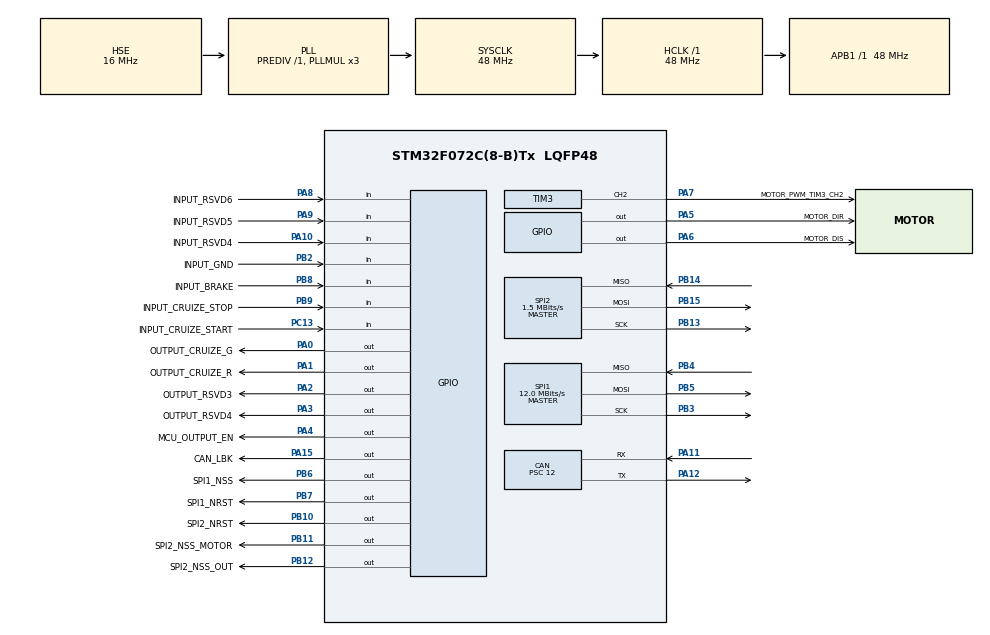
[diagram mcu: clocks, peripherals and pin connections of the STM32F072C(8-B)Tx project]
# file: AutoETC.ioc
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CAN.BS1=CAN_BS1_4TQ
CAN.BS2=CAN_BS2_3TQ
CAN.CalculateBaudRate=500000
CAN.CalculateTimeBit=2000
CAN.CalculateTimeQuantum=250.0
CAN.NART=ENABLE
CAN.Prescaler=12
Dma.Request0=SPI1_RX
Dma.Request1=SPI1_TX
Dma.Request2=SPI2_RX
Dma.Request3=SPI2_TX
Dma.SPI1_RX.0.Direction=DMA_PERIPH_TO_MEMORY
Dma.SPI1_RX.0.Instance=DMA1_Channel2
Dma.SPI1_RX.0.MemDataAlignment=DMA_MDATAALIGN_BYTE
Dma.SPI1_RX.0.MemInc=DMA_MINC_ENABLE
Dma.SPI1_RX.0.Mode=DMA_NORMAL
Dma.SPI1_RX.0.PeriphDataAlignment=DMA_PDATAALIGN_BYTE
Dma.SPI1_RX.0.PeriphInc=DMA_PINC_DISABLE
Dma.SPI1_RX.0.Priority=DMA_PRIORITY_LOW
Dma.SPI1_TX.1.Direction=DMA_MEMORY_TO_PERIPH
Dma.SPI1_TX.1.Instance=DMA1_Channel3
Dma.SPI1_TX.1.MemDataAlignment=DMA_MDATAALIGN_BYTE
Dma.SPI1_TX.1.MemInc=DMA_MINC_ENABLE
Dma.SPI1_TX.1.Mode=DMA_NORMAL
Dma.SPI1_TX.1.PeriphDataAlignment=DMA_PDATAALIGN_BYTE
Dma.SPI1_TX.1.PeriphInc=DMA_PINC_DISABLE
Dma.SPI1_TX.1.Priority=DMA_PRIORITY_LOW
Dma.SPI2_RX.2.Direction=DMA_PERIPH_TO_MEMORY
Dma.SPI2_RX.2.Instance=DMA1_Channel4
Dma.SPI2_RX.2.MemDataAlignment=DMA_MDATAALIGN_BYTE
Dma.SPI2_RX.2.MemInc=DMA_MINC_ENABLE
Dma.SPI2_RX.2.Mode=DMA_NORMAL
Dma.SPI2_RX.2.PeriphDataAlignment=DMA_PDATAALIGN_BYTE
Dma.SPI2_RX.2.PeriphInc=DMA_PINC_DISABLE
Dma.SPI2_RX.2.Priority=DMA_PRIORITY_LOW
Dma.SPI2_TX.3.Direction=DMA_MEMORY_TO_PERIPH
Dma.SPI2_TX.3.Instance=DMA1_Channel5
Dma.SPI2_TX.3.MemDataAlignment=DMA_MDATAALIGN_BYTE
Dma.SPI2_TX.3.MemInc=DMA_MINC_ENABLE
Dma.SPI2_TX.3.Mode=DMA_NORMAL
Dma.SPI2_TX.3.PeriphDataAlignment=DMA_PDATAALIGN_BYTE
Dma.SPI2_TX.3.PeriphInc=DMA_PINC_DISABLE
Dma.SPI2_TX.3.Priority=DMA_PRIORITY_LOW
IWDG.Reload=128
IWDG.Window=128
Mcu.Family=STM32F0
Mcu.Name=STM32F072C(8-B)Tx
Mcu.Package=LQFP48
NVIC.CEC_CAN_IRQn=true\:0\:0\:false\:false\:true\:true\:true\:true
NVIC.DMA1_Channel2_3_IRQn=true\:0\:0\:false\:false\:true\:false\:true\:true
NVIC.DMA1_Channel4_5_6_7_IRQn=true\:0\:0\:false\:false\:true\:false\:true\:true
NVIC.SPI1_IRQn=true\:0\:0\:false\:false\:true\:true\:true\:true
NVIC.SPI2_IRQn=true\:0\:0\:false\:false\:true\:true\:true\:true
NVIC.TIM3_IRQn=true\:0\:0\:false\:false\:true\:true\:true\:true
NVIC.TIM6_DAC_IRQn=true\:0\:0\:false\:false\:true\:true\:true\:true
NVIC.TIM7_IRQn=true\:0\:0\:false\:false\:true\:true\:true\:true
PA0.GPIO_Label=OUTPUT_CRUIZE_G
PA0.GPIO_ModeDefaultOutputPP=GPIO_MODE_OUTPUT_PP
PA0.GPIO_Speed=GPIO_SPEED_FREQ_HIGH
PA0.PinState=GPIO_PIN_SET
PA0.Signal=GPIO_Output
PA1.GPIO_Label=OUTPUT_CRUIZE_R
PA1.GPIO_ModeDefaultOutputPP=GPIO_MODE_OUTPUT_PP
PA1.GPIO_Speed=GPIO_SPEED_FREQ_HIGH
PA1.PinState=GPIO_PIN_SET
PA1.Signal=GPIO_Output
PA10.GPIO_Label=INPUT_RSVD4
PA10.GPIO_Mode=GPIO_MODE_INPUT
PA10.GPIO_PuPd=GPIO_PULLUP
PA10.Signal=GPIO_Input
PA11.GPIO_PuPd=GPIO_PULLUP
PA11.GPIO_Speed=GPIO_SPEED_FREQ_HIGH
PA11.Mode=CAN_Activate
PA11.Signal=CAN_RX
PA12.GPIO_PuPd=GPIO_PULLUP
PA12.GPIO_Speed=GPIO_SPEED_FREQ_HIGH
PA12.Mode=CAN_Activate
PA12.Signal=CAN_TX
PA13.Mode=Serial_Wire
PA13.Signal=SYS_SWDIO
PA14.Mode=Serial_Wire
PA14.Signal=SYS_SWCLK
PA15.GPIO_Label=CAN_LBK
PA15.GPIO_PuPd=GPIO_PULLUP
PA15.GPIO_Speed=GPIO_SPEED_FREQ_HIGH
PA15.PinState=GPIO_PIN_SET
PA15.Signal=GPIO_Output
PA2.GPIO_Label=OUTPUT_RSVD3
PA2.GPIO_ModeDefaultOutputPP=GPIO_MODE_OUTPUT_PP
PA2.GPIO_Speed=GPIO_SPEED_FREQ_HIGH
PA2.PinState=GPIO_PIN_SET
PA2.Signal=GPIO_Output
PA3.GPIO_Label=OUTPUT_RSVD4
PA3.GPIO_ModeDefaultOutputPP=GPIO_MODE_OUTPUT_PP
PA3.GPIO_Speed=GPIO_SPEED_FREQ_HIGH
PA3.PinState=GPIO_PIN_SET
PA3.Signal=GPIO_Output
PA4.GPIO_Label=MCU_OUTPUT_EN
PA4.GPIO_Speed=GPIO_SPEED_FREQ_LOW
PA4.Signal=GPIO_Output
PA5.GPIO_Label=MOTOR_DIR
PA5.GPIO_ModeDefaultOutputPP=GPIO_MODE_OUTPUT_PP
PA5.GPIO_Speed=GPIO_SPEED_FREQ_HIGH
PA5.Signal=GPIO_Output
PA6.GPIO_Label=MOTOR_DIS
PA6.GPIO_ModeDefaultOutputPP=GPIO_MODE_OUTPUT_PP
PA6.GPIO_Speed=GPIO_SPEED_FREQ_HIGH
PA6.PinState=GPIO_PIN_SET
PA6.Signal=GPIO_Output
PA7.GPIO_Label=MOTOR_PWM_TIM3_CH2
PA7.GPIO_Speed=GPIO_SPEED_FREQ_HIGH
PA7.Signal=S_TIM3_CH2
PA8.GPIO_Label=INPUT_RSVD6
PA8.GPIO_Mode=GPIO_MODE_INPUT
PA8.GPIO_PuPd=GPIO_PULLUP
PA8.Signal=GPIO_Input
PA9.GPIO_Label=INPUT_RSVD5
PA9.GPIO_Mode=GPIO_MODE_INPUT
PA9.GPIO_PuPd=GPIO_PULLUP
PA9.Signal=GPIO_Input
PB10.GPIO_Label=SPI2_NRST
PB10.GPIO_Speed=GPIO_SPEED_FREQ_HIGH
PB10.Signal=GPIO_Output
PB11.GPIO_Label=SPI2_NSS_MOTOR
PB11.GPIO_Speed=GPIO_SPEED_FREQ_HIGH
PB11.PinState=GPIO_PIN_SET
PB11.Signal=GPIO_Output
PB12.GPIO_Label=SPI2_NSS_OUT
PB12.GPIO_Speed=GPIO_SPEED_FREQ_HIGH
PB12.PinState=GPIO_PIN_SET
PB12.Signal=GPIO_Output
PB13.GPIO_PuPd=GPIO_PULLUP
PB13.Mode=Full_Duplex_Master
PB13.Signal=SPI2_SCK
PB14.GPIO_PuPd=GPIO_PULLUP
PB14.Mode=Full_Duplex_Master
PB14.Signal=SPI2_MISO
PB15.GPIO_PuPd=GPIO_PULLUP
PB15.Mode=Full_Duplex_Master
PB15.Signal=SPI2_MOSI
PB2.GPIO_Label=INPUT_GND
PB2.Signal=GPIO_Input
PB3.GPIO_PuPd=GPIO_PULLUP
PB3.Mode=Full_Duplex_Master
PB3.Signal=SPI1_SCK
PB4.GPIO_PuPd=GPIO_PULLUP
PB4.Mode=Full_Duplex_Master
PB4.Signal=SPI1_MISO
PB5.GPIO_PuPd=GPIO_PULLUP
PB5.Mode=Full_Duplex_Master
PB5.Signal=SPI1_MOSI
PB6.GPIO_Label=SPI1_NSS
PB6.GPIO_Speed=GPIO_SPEED_FREQ_HIGH
PB6.PinState=GPIO_PIN_SET
PB6.Signal=GPIO_Output
PB7.GPIO_Label=SPI1_NRST
PB7.GPIO_Speed=GPIO_SPEED_FREQ_HIGH
PB7.PinState=GPIO_PIN_RESET
PB7.Signal=GPIO_Output
PB8.GPIO_Label=INPUT_BRAKE
PB8.GPIO_Mode=GPIO_MODE_INPUT
PB8.GPIO_PuPd=GPIO_PULLUP
PB8.Signal=GPIO_Input
PB9.GPIO_Label=INPUT_CRUIZE_STOP
PB9.GPIO_Mode=GPIO_MODE_INPUT
PB9.GPIO_PuPd=GPIO_PULLUP
PB9.Signal=GPIO_Input
PC13.GPIO_Label=INPUT_CRUIZE_START
PC13.GPIO_Mode=GPIO_MODE_INPUT
PC13.GPIO_PuPd=GPIO_PULLUP
PC13.Signal=GPIO_Input
PF0-OSC_IN.Mode=HSE-External-Oscillator
PF0-OSC_IN.Signal=RCC_OSC_IN
PF1-OSC_OUT.Mode=HSE-External-Oscillator
PF1-OSC_OUT.Signal=RCC_OSC_OUT
ProjectManager.HeapSize=0x200
ProjectManager.StackSize=0x400
ProjectManager.TargetToolchain=STM32CubeIDE
RCC.AHBFreq_Value=48000000
RCC.APB1Freq_Value=48000000
RCC.APB1TimFreq_Value=48000000
RCC.HCLKFreq_Value=48000000
RCC.HSE_VALUE=16000000
RCC.PLLMUL=RCC_PLL_MUL3
RCC.PLLSourceVirtual=RCC_PLLSOURCE_HSE
RCC.SYSCLKFreq_VALUE=48000000
RCC.SYSCLKSource=RCC_SYSCLKSOURCE_PLLCLK
SH.S_TIM3_CH2.0=TIM3_CH2,PWM Generation2 CH2
SPI1.BaudRatePrescaler=SPI_BAUDRATEPRESCALER_4
SPI1.CLKPolarity=SPI_POLARITY_HIGH
SPI1.CalculateBaudRate=12.0 MBits/s
SPI1.DataSize=SPI_DATASIZE_8BIT
SPI1.Direction=SPI_DIRECTION_2LINES
SPI1.Mode=SPI_MODE_MASTER
SPI1.VirtualType=VM_MASTER
SPI2.BaudRatePrescaler=SPI_BAUDRATEPRESCALER_32
SPI2.CLKPhase=SPI_PHASE_2EDGE
SPI2.CalculateBaudRate=1.5 MBits/s
SPI2.DataSize=SPI_DATASIZE_8BIT
SPI2.Direction=SPI_DIRECTION_2LINES
SPI2.Mode=SPI_MODE_MASTER
SPI2.VirtualType=VM_MASTER
TIM2.Period=0xFFFFFFFF
TIM2.Prescaler=48-1
TIM3.Channel-PWM\ Generation2\ CH2=TIM_CHANNEL_2
TIM3.Period=1024-1
TIM3.Prescaler=48-1
TIM6.Period=50-1
TIM6.Prescaler=48-1
TIM7.Period=1000-1
TIM7.Prescaler=48-1
VP_IWDG_VS_IWDG.Mode=IWDG_Activate
VP_TIM2_VS_ClockSourceINT.Mode=Internal
VP_TIM3_VS_ClockSourceINT.Mode=Internal
VP_TIM6_VS_ClockSourceINT.Mode=Enable_Timer
VP_TIM7_VS_ClockSourceINT.Mode=Enable_Timer
board=custom

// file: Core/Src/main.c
/* USER CODE BEGIN Header */
/**
  ******************************************************************************
  * @file           : main.c
  * @brief          : Main program body
  ******************************************************************************
  * @attention
  *
  * Copyright (c) 2023 STMicroelectronics.
  * All rights reserved.
  *
  * This software is licensed under terms that can be found in the LICENSE file
  * in the root directory of this software component.
  * If no LICENSE file comes with this software, it is provided AS-IS.
  *
  ******************************************************************************
  */
/* USER CODE END Header */
#include "main.h"

/* USER CODE BEGIN Includes */
#include "delay.h"
#include "misc.h"
#include "adc.h"
#include "can.h"
#include "sensors.h"
#include "outputs.h"
#include "etc.h"
/* USER CODE END Includes */

CAN_HandleTypeDef hcan;

IWDG_HandleTypeDef hiwdg;

SPI_HandleTypeDef hspi1;
SPI_HandleTypeDef hspi2;
DMA_HandleTypeDef hdma_spi1_rx;
DMA_HandleTypeDef hdma_spi1_tx;
DMA_HandleTypeDef hdma_spi2_rx;
DMA_HandleTypeDef hdma_spi2_tx;

TIM_HandleTypeDef htim2;
TIM_HandleTypeDef htim3;
TIM_HandleTypeDef htim6;
TIM_HandleTypeDef htim7;

/* USER CODE BEGIN PV */
#ifdef DEBUG
volatile static uint32_t fast_irq_start = 0;
volatile static uint32_t fast_irq_end = 0;
volatile static uint16_t fast_irq_times = 0;
volatile static uint32_t fast_irq_time = 0;
volatile static float fast_irq_avg = 0;
volatile static float fast_irq_max = 0;

volatile static uint32_t slow_irq_start = 0;
volatile static uint32_t slow_irq_end = 0;
volatile static uint16_t slow_irq_times = 0;
volatile static uint32_t slow_irq_time = 0;
volatile static float slow_irq_avg = 0;
volatile static float slow_irq_max = 0;
#endif
/* USER CODE END PV */

void SystemClock_Config(void);
static void MX_GPIO_Init(void);
static void MX_DMA_Init(void);
static void MX_CAN_Init(void);
static void MX_IWDG_Init(void);
static void MX_SPI1_Init(void);
static void MX_SPI2_Init(void);
static void MX_TIM3_Init(void);
static void MX_TIM2_Init(void);
static void MX_TIM6_Init(void);
static void MX_TIM7_Init(void);

/* USER CODE BEGIN 0 */

STATIC_INLINE void fast_loop(void)
{
#ifdef DEBUG
  fast_irq_start = Delay_Tick;
#endif

  adc_fast_loop();
  Misc_Fast_Loop();
  etc_irq_fast_loop();

#ifdef DEBUG
  //For time measurement taken by the fast irq handler. No need to optimize anything here
  fast_irq_end = Delay_Tick;
  fast_irq_time = DelayDiff(fast_irq_end, fast_irq_start);

  if(fast_irq_avg == 0)
    fast_irq_avg = fast_irq_time;
  else if(fast_irq_times < 1000) {
    fast_irq_avg = fast_irq_avg * 0.99f + fast_irq_time * 0.01f;
    if(fast_irq_time > fast_irq_max)
      fast_irq_max = fast_irq_time;
    else fast_irq_max = fast_irq_max * 0.99f + fast_irq_time * 0.01f;
    fast_irq_times++;
  } else {
    fast_irq_avg = fast_irq_avg * 0.99999f + fast_irq_time * 0.00001f;
    if(fast_irq_time > fast_irq_max)
      fast_irq_max = fast_irq_time;
    else fast_irq_max = fast_irq_max * 0.99999f + fast_irq_time * 0.00001f;
  }
#endif
}

STATIC_INLINE void slow_loop(void)
{
#ifdef DEBUG
  slow_irq_start = Delay_Tick;
#endif

  adc_slow_loop();
  Misc_Loop();
  sensors_loop();
  outputs_loop();
  etc_irq_slow_loop();

#ifdef DEBUG
  //For time measurement taken by the slow irq handler. No need to optimize anything here
  slow_irq_end = Delay_Tick;
  slow_irq_time = DelayDiff(slow_irq_end, slow_irq_start);

  if(slow_irq_avg == 0)
    slow_irq_avg = slow_irq_time;
  else if(slow_irq_times < 1000) {
    slow_irq_avg = slow_irq_avg * 0.99f + slow_irq_time * 0.01f;
    if(slow_irq_time > slow_irq_max)
      slow_irq_max = slow_irq_time;
    else slow_irq_max = slow_irq_max * 0.99f + slow_irq_time * 0.01f;
    slow_irq_times++;
  } else {
    slow_irq_avg = slow_irq_avg * 0.99999f + slow_irq_time * 0.00001f;
    if(slow_irq_time > slow_irq_max)
      slow_irq_max = slow_irq_time;
    else slow_irq_max = slow_irq_max * 0.99999f + slow_irq_time * 0.00001f;
  }
#endif
}

INLINE void HAL_TIM_PeriodElapsedCallback(TIM_HandleTypeDef *htim)
{
  if (htim == &htim6) {
    fast_loop();
  } else if (htim == &htim7) {
    slow_loop();
  }
}

INLINE ITCM_FUNC void HAL_TIM_PWM_PulseFinishedCallback(TIM_HandleTypeDef *htim)
{
  if(htim == &htim3 && htim->Channel == HAL_TIM_ACTIVE_CHANNEL_2) {
    //htim2.Instance->CCR1 = o2_pwm_period;
  }
}

INLINE void HAL_SPI_TxCpltCallback(SPI_HandleTypeDef * hspi)
{
  if(hspi == &hspi2) {
    Misc_TxCpltCallback(hspi);
  } else if(hspi == &hspi1) {
    ADC_TxCpltCallback(hspi);
  }
}

INLINE void HAL_SPI_RxCpltCallback(SPI_HandleTypeDef * hspi)
{
  if(hspi == &hspi2) {
    Misc_RxCpltCallback(hspi);
  } else if(hspi == &hspi1) {
    ADC_RxCpltCallback(hspi);
  }
}
INLINE void HAL_SPI_TxRxCpltCallback(SPI_HandleTypeDef * hspi)
{
  if(hspi == &hspi2) {
    Misc_TxRxCpltCallback(hspi);
  } else if(hspi == &hspi1) {
    ADC_TxRxCpltCallback(hspi);
  }
}

INLINE void HAL_SPI_ErrorCallback(SPI_HandleTypeDef * hspi)
{
  if(hspi == &hspi2) {
    Misc_ErrorCallback(hspi);
  } else if(hspi == &hspi1) {
    ADC_ErrorCallback(hspi);
  }
}

INLINE void HAL_CAN_TxMailbox0AbortCallback(CAN_HandleTypeDef *hcan)
{
  can_txfifo_aborted_callback(hcan, CAN_TX_MAILBOX0);
}

INLINE void HAL_CAN_TxMailbox1AbortCallback(CAN_HandleTypeDef *hcan)
{
  can_txfifo_aborted_callback(hcan, CAN_TX_MAILBOX1);
}

INLINE void HAL_CAN_TxMailbox2AbortCallback(CAN_HandleTypeDef *hcan)
{
  can_txfifo_aborted_callback(hcan, CAN_TX_MAILBOX2);
}

INLINE void HAL_CAN_TxMailbox0CompleteCallback(CAN_HandleTypeDef *hcan)
{
  can_txfifo_completed_callback(hcan, CAN_TX_MAILBOX0);
}

INLINE void HAL_CAN_TxMailbox1CompleteCallback(CAN_HandleTypeDef *hcan)
{
  can_txfifo_completed_callback(hcan, CAN_TX_MAILBOX1);
}

INLINE void HAL_CAN_TxMailbox2CompleteCallback(CAN_HandleTypeDef *hcan)
{
  can_txfifo_completed_callback(hcan, CAN_TX_MAILBOX2);
}

INLINE void HAL_CAN_RxFifo0MsgPendingCallback(CAN_HandleTypeDef *hcan)
{
  can_rxfifo_pending_callback(hcan, CAN_RX_FIFO0);
}

INLINE void HAL_CAN_RxFifo1MsgPendingCallback(CAN_HandleTypeDef *hcan)
{
  can_rxfifo_pending_callback(hcan, CAN_RX_FIFO1);
}

/* USER CODE END 0 */

int main(void)
{

  /* MCU Configuration--------------------------------------------------------*/

  /* Reset of all peripherals, Initializes the Flash interface and the Systick. */
  HAL_Init();

  /* Configure the system clock */
  SystemClock_Config();

  /* Initialize all configured peripherals */
  MX_GPIO_Init();
  MX_DMA_Init();
  MX_CAN_Init();
  MX_IWDG_Init();
  MX_SPI1_Init();
  MX_SPI2_Init();
  MX_TIM3_Init();
  MX_TIM2_Init();
  MX_TIM6_Init();
  MX_TIM7_Init();
  /* USER CODE BEGIN 2 */

  //Freeze peripherial during debug
  DBGMCU->APB1FZ = 0x7E01BFF;
  DBGMCU->APB2FZ = 0x70003;

  __HAL_DBGMCU_FREEZE_TIM2();
  __HAL_DBGMCU_FREEZE_IWDG();

  __HAL_DBGMCU_UNFREEZE_TIM3();

  HAL_PWR_EnableBkUpAccess();

  HAL_GPIO_WritePin(MCU_OUTPUT_EN_GPIO_Port, MCU_OUTPUT_EN_Pin, GPIO_PIN_SET);
  HAL_GPIO_WritePin(MCU_OUTPUT_EN_GPIO_Port, MCU_OUTPUT_EN_Pin, GPIO_PIN_SET);

  DelayInit(&htim2);

  sensors_init();
  outputs_init();

  sensors_register_digital(SensorDigitalCruizeStart, INPUT_CRUIZE_START_GPIO_Port, INPUT_CRUIZE_START_Pin, 0);
  sensors_register_digital(SensorDigitalCruizeStop, INPUT_CRUIZE_STOP_GPIO_Port, INPUT_CRUIZE_STOP_Pin, 0);
  sensors_register_digital(SensorDigitalBrake, INPUT_BRAKE_GPIO_Port, INPUT_BRAKE_Pin, 0);
  sensors_register_digital(SensorDigitalRsvd4, INPUT_RSVD4_GPIO_Port, INPUT_RSVD4_Pin, 0);
  sensors_register_digital(SensorDigitalRsvd5, INPUT_RSVD5_GPIO_Port, INPUT_RSVD5_Pin, 0);
  sensors_register_digital(SensorDigitalRsvd6, INPUT_RSVD6_GPIO_Port, INPUT_RSVD6_Pin, 0);

  outputs_register(OutCruizeG, OUTPUT_CRUIZE_G_GPIO_Port, OUTPUT_CRUIZE_G_Pin, 1, GPIO_PIN_RESET);
  outputs_register(OutCruizeR, OUTPUT_CRUIZE_R_GPIO_Port, OUTPUT_CRUIZE_R_Pin, 1, GPIO_PIN_RESET);
  outputs_register(OutRsvd3, OUTPUT_RSVD3_GPIO_Port, OUTPUT_RSVD3_Pin, 1, GPIO_PIN_RESET);
  outputs_register(OutRsvd4, OUTPUT_RSVD4_GPIO_Port, OUTPUT_RSVD4_Pin, 1, GPIO_PIN_RESET);

  adc_register(AdcChTps1,           ADC_RANGE_0P1250, 1000, ADC_FILTER_ENABLE);
  adc_register(AdcChTps2,           ADC_RANGE_0P1250, 1000, ADC_FILTER_ENABLE);
  adc_register(AdcChPedal1,         ADC_RANGE_0P1250, 1000, ADC_FILTER_ENABLE);
  adc_register(AdcChPedal2,         ADC_RANGE_0P1250, 1000, ADC_FILTER_ENABLE);
  adc_register(AdcChRsvd5,          ADC_RANGE_0P1250, 1000, ADC_FILTER_ENABLE);
  adc_register(AdcChRsvd6,          ADC_RANGE_0P1250, 1000, ADC_FILTER_ENABLE);
  adc_register(AdcChPowerVoltage,   ADC_RANGE_0P2500, 2000, ADC_FILTER_ENABLE);
  adc_register(AdcChRefVoltage,     ADC_RANGE_0P1250, 2000, ADC_FILTER_ENABLE);

  adc_init(&hspi1);

  Misc_Init(&hspi2);

  can_init(&hcan);

  etc_init();

  HAL_IWDG_Refresh(&hiwdg);

  HAL_TIM_Base_Start_IT(&htim6);
  HAL_TIM_Base_Start_IT(&htim7);
  HAL_TIM_PWM_Start_IT(&htim3, TIM_CHANNEL_2);

  /* USER CODE END 2 */

  /* Infinite loop */
  /* USER CODE BEGIN WHILE */
  while (1)
  {
    etc_loop();
    HAL_IWDG_Refresh(&hiwdg);
    /* USER CODE END WHILE */

  }
}

void SystemClock_Config(void)
{
  RCC_OscInitTypeDef RCC_OscInitStruct = {0};
  RCC_ClkInitTypeDef RCC_ClkInitStruct = {0};

  /** Initializes the RCC Oscillators according to the specified parameters
  * in the RCC_OscInitTypeDef structure.
  */
  RCC_OscInitStruct.OscillatorType = RCC_OSCILLATORTYPE_LSI|RCC_OSCILLATORTYPE_HSE;
  RCC_OscInitStruct.HSEState = RCC_HSE_ON;
  RCC_OscInitStruct.LSIState = RCC_LSI_ON;
  RCC_OscInitStruct.PLL.PLLState = RCC_PLL_ON;
  RCC_OscInitStruct.PLL.PLLSource = RCC_PLLSOURCE_HSE;
  RCC_OscInitStruct.PLL.PLLMUL = RCC_PLL_MUL3;
  RCC_OscInitStruct.PLL.PREDIV = RCC_PREDIV_DIV1;
  if (HAL_RCC_OscConfig(&RCC_OscInitStruct) != HAL_OK)
  {
    Error_Handler();
  }

  /** Initializes the CPU, AHB and APB buses clocks
  */
  RCC_ClkInitStruct.ClockType = RCC_CLOCKTYPE_HCLK|RCC_CLOCKTYPE_SYSCLK
                              |RCC_CLOCKTYPE_PCLK1;
  RCC_ClkInitStruct.SYSCLKSource = RCC_SYSCLKSOURCE_PLLCLK;
  RCC_ClkInitStruct.AHBCLKDivider = RCC_SYSCLK_DIV1;
  RCC_ClkInitStruct.APB1CLKDivider = RCC_HCLK_DIV1;

  if (HAL_RCC_ClockConfig(&RCC_ClkInitStruct, FLASH_LATENCY_1) != HAL_OK)
  {
    Error_Handler();
  }
}

static void MX_CAN_Init(void)
{

  hcan.Instance = CAN;
  hcan.Init.Prescaler = 12;
  hcan.Init.Mode = CAN_MODE_NORMAL;
  hcan.Init.SyncJumpWidth = CAN_SJW_1TQ;
  hcan.Init.TimeSeg1 = CAN_BS1_4TQ;
  hcan.Init.TimeSeg2 = CAN_BS2_3TQ;
  hcan.Init.TimeTriggeredMode = DISABLE;
  hcan.Init.AutoBusOff = DISABLE;
  hcan.Init.AutoWakeUp = DISABLE;
  hcan.Init.AutoRetransmission = ENABLE;
  hcan.Init.ReceiveFifoLocked = DISABLE;
  hcan.Init.TransmitFifoPriority = DISABLE;
  if (HAL_CAN_Init(&hcan) != HAL_OK)
  {
    Error_Handler();
  }

}

static void MX_IWDG_Init(void)
{

  hiwdg.Instance = IWDG;
  hiwdg.Init.Prescaler = IWDG_PRESCALER_4;
  hiwdg.Init.Window = 512;
  hiwdg.Init.Reload = 512;
  if (HAL_IWDG_Init(&hiwdg) != HAL_OK)
  {
    Error_Handler();
  }

}

static void MX_SPI1_Init(void)
{

  /* SPI1 parameter configuration*/
  hspi1.Instance = SPI1;
  hspi1.Init.Mode = SPI_MODE_MASTER;
  hspi1.Init.Direction = SPI_DIRECTION_2LINES;
  hspi1.Init.DataSize = SPI_DATASIZE_8BIT;
  hspi1.Init.CLKPolarity = SPI_POLARITY_HIGH;
  hspi1.Init.CLKPhase = SPI_PHASE_1EDGE;
  hspi1.Init.NSS = SPI_NSS_SOFT;
  hspi1.Init.BaudRatePrescaler = SPI_BAUDRATEPRESCALER_4;
  hspi1.Init.FirstBit = SPI_FIRSTBIT_MSB;
  hspi1.Init.TIMode = SPI_TIMODE_DISABLE;
  hspi1.Init.CRCCalculation = SPI_CRCCALCULATION_DISABLE;
  hspi1.Init.CRCPolynomial = 7;
  hspi1.Init.CRCLength = SPI_CRC_LENGTH_DATASIZE;
  hspi1.Init.NSSPMode = SPI_NSS_PULSE_ENABLE;
  if (HAL_SPI_Init(&hspi1) != HAL_OK)
  {
    Error_Handler();
  }

}

static void MX_SPI2_Init(void)
{

  /* SPI2 parameter configuration*/
  hspi2.Instance = SPI2;
  hspi2.Init.Mode = SPI_MODE_MASTER;
  hspi2.Init.Direction = SPI_DIRECTION_2LINES;
  hspi2.Init.DataSize = SPI_DATASIZE_8BIT;
  hspi2.Init.CLKPolarity = SPI_POLARITY_LOW;
  hspi2.Init.CLKPhase = SPI_PHASE_2EDGE;
  hspi2.Init.NSS = SPI_NSS_SOFT;
  hspi2.Init.BaudRatePrescaler = SPI_BAUDRATEPRESCALER_32;
  hspi2.Init.FirstBit = SPI_FIRSTBIT_MSB;
  hspi2.Init.TIMode = SPI_TIMODE_DISABLE;
  hspi2.Init.CRCCalculation = SPI_CRCCALCULATION_DISABLE;
  hspi2.Init.CRCPolynomial = 7;
  hspi2.Init.CRCLength = SPI_CRC_LENGTH_DATASIZE;
  hspi2.Init.NSSPMode = SPI_NSS_PULSE_DISABLE;
  if (HAL_SPI_Init(&hspi2) != HAL_OK)
  {
    Error_Handler();
  }

}

static void MX_TIM2_Init(void)
{

  TIM_ClockConfigTypeDef sClockSourceConfig = {0};
  TIM_MasterConfigTypeDef sMasterConfig = {0};

  htim2.Instance = TIM2;
  htim2.Init.Prescaler = 48-1;
  htim2.Init.CounterMode = TIM_COUNTERMODE_UP;
  htim2.Init.Period = 0xFFFFFFFF;
  htim2.Init.ClockDivision = TIM_CLOCKDIVISION_DIV1;
  htim2.Init.AutoReloadPreload = TIM_AUTORELOAD_PRELOAD_DISABLE;
  if (HAL_TIM_Base_Init(&htim2) != HAL_OK)
  {
    Error_Handler();
  }
  sClockSourceConfig.ClockSource = TIM_CLOCKSOURCE_INTERNAL;
  if (HAL_TIM_ConfigClockSource(&htim2, &sClockSourceConfig) != HAL_OK)
  {
    Error_Handler();
  }
  sMasterConfig.MasterOutputTrigger = TIM_TRGO_RESET;
  sMasterConfig.MasterSlaveMode = TIM_MASTERSLAVEMODE_DISABLE;
  if (HAL_TIMEx_MasterConfigSynchronization(&htim2, &sMasterConfig) != HAL_OK)
  {
    Error_Handler();
  }
  /* USER CODE BEGIN TIM2_Init 2 */

  htim2.Init.Prescaler = (HAL_RCC_GetPCLK1Freq() / 1000000) -1;
  htim2.Init.Period = DelayMask;
  if (HAL_TIM_Base_Init(&htim2) != HAL_OK)
  {
    Error_Handler();
  }
  /* USER CODE END TIM2_Init 2 */

}

static void MX_TIM3_Init(void)
{

  TIM_ClockConfigTypeDef sClockSourceConfig = {0};
  TIM_MasterConfigTypeDef sMasterConfig = {0};
  TIM_OC_InitTypeDef sConfigOC = {0};

  htim3.Instance = TIM3;
  htim3.Init.Prescaler = 48-1;
  htim3.Init.CounterMode = TIM_COUNTERMODE_UP;
  htim3.Init.Period = 256-1;
  htim3.Init.ClockDivision = TIM_CLOCKDIVISION_DIV1;
  htim3.Init.AutoReloadPreload = TIM_AUTORELOAD_PRELOAD_DISABLE;
  if (HAL_TIM_Base_Init(&htim3) != HAL_OK)
  {
    Error_Handler();
  }
  sClockSourceConfig.ClockSource = TIM_CLOCKSOURCE_INTERNAL;
  if (HAL_TIM_ConfigClockSource(&htim3, &sClockSourceConfig) != HAL_OK)
  {
    Error_Handler();
  }
  if (HAL_TIM_PWM_Init(&htim3) != HAL_OK)
  {
    Error_Handler();
  }
  sMasterConfig.MasterOutputTrigger = TIM_TRGO_RESET;
  sMasterConfig.MasterSlaveMode = TIM_MASTERSLAVEMODE_DISABLE;
  if (HAL_TIMEx_MasterConfigSynchronization(&htim3, &sMasterConfig) != HAL_OK)
  {
    Error_Handler();
  }
  sConfigOC.OCMode = TIM_OCMODE_PWM1;
  sConfigOC.Pulse = 0;
  sConfigOC.OCPolarity = TIM_OCPOLARITY_HIGH;
  sConfigOC.OCFastMode = TIM_OCFAST_DISABLE;
  if (HAL_TIM_PWM_ConfigChannel(&htim3, &sConfigOC, TIM_CHANNEL_2) != HAL_OK)
  {
    Error_Handler();
  }
  /* USER CODE BEGIN TIM3_Init 2 */
  htim3.Init.Prescaler = (HAL_RCC_GetPCLK1Freq() / 1000000) - 1;
  if (HAL_TIM_Base_Init(&htim3) != HAL_OK)
  {
    Error_Handler();
  }
  /* USER CODE END TIM3_Init 2 */
  HAL_TIM_MspPostInit(&htim3);

}

static void MX_TIM6_Init(void)
{

  TIM_MasterConfigTypeDef sMasterConfig = {0};

  htim6.Instance = TIM6;
  htim6.Init.Prescaler = 48-1;
  htim6.Init.CounterMode = TIM_COUNTERMODE_UP;
  htim6.Init.Period = 100-1;
  htim6.Init.AutoReloadPreload = TIM_AUTORELOAD_PRELOAD_DISABLE;
  if (HAL_TIM_Base_Init(&htim6) != HAL_OK)
  {
    Error_Handler();
  }
  sMasterConfig.MasterOutputTrigger = TIM_TRGO_RESET;
  sMasterConfig.MasterSlaveMode = TIM_MASTERSLAVEMODE_DISABLE;
  if (HAL_TIMEx_MasterConfigSynchronization(&htim6, &sMasterConfig) != HAL_OK)
  {
    Error_Handler();
  }
  /* USER CODE BEGIN TIM6_Init 2 */
  htim6.Init.Prescaler = (HAL_RCC_GetPCLK1Freq() / 1000000) -1;
  if (HAL_TIM_Base_Init(&htim6) != HAL_OK)
  {
    Error_Handler();
  }
  /* USER CODE END TIM6_Init 2 */

}

static void MX_TIM7_Init(void)
{

  TIM_MasterConfigTypeDef sMasterConfig = {0};

  htim7.Instance = TIM7;
  htim7.Init.Prescaler = 48-1;
  htim7.Init.CounterMode = TIM_COUNTERMODE_UP;
  htim7.Init.Period = 1000-1;
  htim7.Init.AutoReloadPreload = TIM_AUTORELOAD_PRELOAD_DISABLE;
  if (HAL_TIM_Base_Init(&htim7) != HAL_OK)
  {
    Error_Handler();
  }
  sMasterConfig.MasterOutputTrigger = TIM_TRGO_RESET;
  sMasterConfig.MasterSlaveMode = TIM_MASTERSLAVEMODE_DISABLE;
  if (HAL_TIMEx_MasterConfigSynchronization(&htim7, &sMasterConfig) != HAL_OK)
  {
    Error_Handler();
  }
  /* USER CODE BEGIN TIM7_Init 2 */
  htim7.Init.Prescaler = (HAL_RCC_GetPCLK1Freq() / 1000000) -1;
  if (HAL_TIM_Base_Init(&htim7) != HAL_OK)
  {
    Error_Handler();
  }
  /* USER CODE END TIM7_Init 2 */

}

static void MX_DMA_Init(void)
{

  /* DMA controller clock enable */
  __HAL_RCC_DMA1_CLK_ENABLE();

  /* DMA interrupt init */
  /* DMA1_Channel2_3_IRQn interrupt configuration */
  HAL_NVIC_SetPriority(DMA1_Channel2_3_IRQn, 0, 0);
  HAL_NVIC_EnableIRQ(DMA1_Channel2_3_IRQn);
  /* DMA1_Channel4_5_6_7_IRQn interrupt configuration */
  HAL_NVIC_SetPriority(DMA1_Channel4_5_6_7_IRQn, 0, 0);
  HAL_NVIC_EnableIRQ(DMA1_Channel4_5_6_7_IRQn);

}

static void MX_GPIO_Init(void)
{
  GPIO_InitTypeDef GPIO_InitStruct = {0};

  /* GPIO Ports Clock Enable */
  __HAL_RCC_GPIOC_CLK_ENABLE();
  __HAL_RCC_GPIOF_CLK_ENABLE();
  __HAL_RCC_GPIOA_CLK_ENABLE();
  __HAL_RCC_GPIOB_CLK_ENABLE();

  /*Configure GPIO pin Output Level */
  HAL_GPIO_WritePin(GPIOA, OUTPUT_CRUIZE_G_Pin|OUTPUT_CRUIZE_R_Pin|OUTPUT_RSVD3_Pin|OUTPUT_RSVD4_Pin
                          |MOTOR_DIS_Pin|CAN_LBK_Pin, GPIO_PIN_SET);

  /*Configure GPIO pin Output Level */
  HAL_GPIO_WritePin(GPIOA, MCU_OUTPUT_EN_Pin|MOTOR_DIR_Pin, GPIO_PIN_RESET);

  /*Configure GPIO pin Output Level */
  HAL_GPIO_WritePin(GPIOB, SPI2_NRST_Pin|SPI1_NRST_Pin, GPIO_PIN_RESET);

  /*Configure GPIO pin Output Level */
  HAL_GPIO_WritePin(GPIOB, SPI2_NSS_MOTOR_Pin|SPI2_NSS_OUT_Pin|SPI1_NSS_Pin, GPIO_PIN_SET);

  /*Configure GPIO pin : INPUT_CRUIZE_START_Pin */
  GPIO_InitStruct.Pin = INPUT_CRUIZE_START_Pin;
  GPIO_InitStruct.Mode = GPIO_MODE_INPUT;
  GPIO_InitStruct.Pull = GPIO_NOPULL;
  HAL_GPIO_Init(INPUT_CRUIZE_START_GPIO_Port, &GPIO_InitStruct);

  /*Configure GPIO pins : OUTPUT_CRUIZE_G_Pin OUTPUT_CRUIZE_R_Pin OUTPUT_RSVD3_Pin OUTPUT_RSVD4_Pin
                           MOTOR_DIR_Pin MOTOR_DIS_Pin */
  GPIO_InitStruct.Pin = OUTPUT_CRUIZE_G_Pin|OUTPUT_CRUIZE_R_Pin|OUTPUT_RSVD3_Pin|OUTPUT_RSVD4_Pin
                          |MOTOR_DIR_Pin|MOTOR_DIS_Pin;
  GPIO_InitStruct.Mode = GPIO_MODE_OUTPUT_PP;
  GPIO_InitStruct.Pull = GPIO_NOPULL;
  GPIO_InitStruct.Speed = GPIO_SPEED_FREQ_HIGH;
  HAL_GPIO_Init(GPIOA, &GPIO_InitStruct);

  /*Configure GPIO pin : MCU_OUTPUT_EN_Pin */
  GPIO_InitStruct.Pin = MCU_OUTPUT_EN_Pin;
  GPIO_InitStruct.Mode = GPIO_MODE_OUTPUT_PP;
  GPIO_InitStruct.Pull = GPIO_NOPULL;
  GPIO_InitStruct.Speed = GPIO_SPEED_FREQ_LOW;
  HAL_GPIO_Init(MCU_OUTPUT_EN_GPIO_Port, &GPIO_InitStruct);

  /*Configure GPIO pin : INPUT_GND_Pin */
  GPIO_InitStruct.Pin = INPUT_GND_Pin;
  GPIO_InitStruct.Mode = GPIO_MODE_INPUT;
  GPIO_InitStruct.Pull = GPIO_NOPULL;
  HAL_GPIO_Init(INPUT_GND_GPIO_Port, &GPIO_InitStruct);

  /*Configure GPIO pins : SPI2_NRST_Pin SPI2_NSS_MOTOR_Pin SPI2_NSS_OUT_Pin SPI1_NSS_Pin
                           SPI1_NRST_Pin */
  GPIO_InitStruct.Pin = SPI2_NRST_Pin|SPI2_NSS_MOTOR_Pin|SPI2_NSS_OUT_Pin|SPI1_NSS_Pin
                          |SPI1_NRST_Pin;
  GPIO_InitStruct.Mode = GPIO_MODE_OUTPUT_PP;
  GPIO_InitStruct.Pull = GPIO_NOPULL;
  GPIO_InitStruct.Speed = GPIO_SPEED_FREQ_HIGH;
  HAL_GPIO_Init(GPIOB, &GPIO_InitStruct);

  /*Configure GPIO pins : INPUT_RSVD6_Pin INPUT_RSVD5_Pin INPUT_RSVD4_Pin */
  GPIO_InitStruct.Pin = INPUT_RSVD6_Pin|INPUT_RSVD5_Pin|INPUT_RSVD4_Pin;
  GPIO_InitStruct.Mode = GPIO_MODE_INPUT;
  GPIO_InitStruct.Pull = GPIO_NOPULL;
  HAL_GPIO_Init(GPIOA, &GPIO_InitStruct);

  /*Configure GPIO pin : CAN_LBK_Pin */
  GPIO_InitStruct.Pin = CAN_LBK_Pin;
  GPIO_InitStruct.Mode = GPIO_MODE_OUTPUT_PP;
  GPIO_InitStruct.Pull = GPIO_PULLUP;
  GPIO_InitStruct.Speed = GPIO_SPEED_FREQ_HIGH;
  HAL_GPIO_Init(CAN_LBK_GPIO_Port, &GPIO_InitStruct);

  /*Configure GPIO pins : INPUT_BRAKE_Pin INPUT_CRUIZE_STOP_Pin */
  GPIO_InitStruct.Pin = INPUT_BRAKE_Pin|INPUT_CRUIZE_STOP_Pin;
  GPIO_InitStruct.Mode = GPIO_MODE_INPUT;
  GPIO_InitStruct.Pull = GPIO_NOPULL;
  HAL_GPIO_Init(GPIOB, &GPIO_InitStruct);

}

void Error_Handler(void)
{
  __disable_irq();
  while (1)
  {
  }
}
